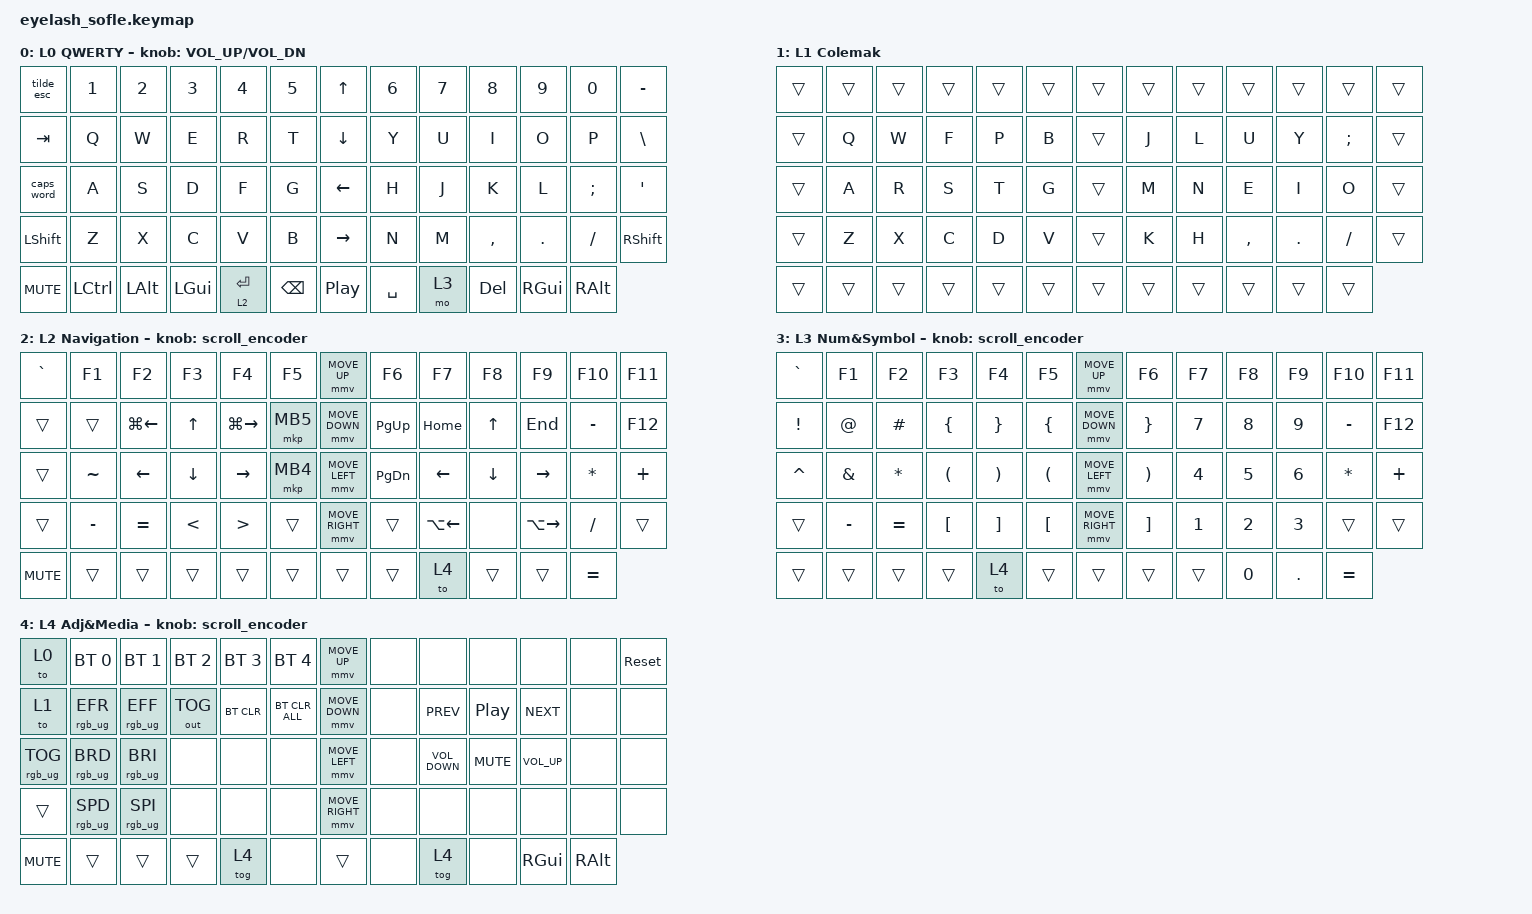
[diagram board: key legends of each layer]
#define ZMK_POINTING_DEFAULT_MOVE_VAL 1200  // 600
#define ZMK_POINTING_DEFAULT_SCRL_VAL 35    // 10

#include <input/processors.dtsi>
#include <zephyr/dt-bindings/input/input-event-codes.h>
#include <behaviors.dtsi>
#include <dt-bindings/zmk/bt.h>
#include <dt-bindings/zmk/keys.h>
#include <dt-bindings/zmk/outputs.h>
#include <dt-bindings/zmk/pointing.h>
#include <dt-bindings/zmk/rgb.h>

/ {
    zip_scroll_scaler: zip_scroll_scaler {
        compatible = "zmk,input-processor-scaler";
        #input-processor-cells = <2>;
        type = <INPUT_EV_REL>;
        codes = <INPUT_REL_WHEEL INPUT_REL_HWHEEL>;
        track-remainders;
    };
};

&mmv_input_listener { input-processors = <&zip_xy_scaler 2 1>; };

&msc_input_listener { input-processors = <&zip_scroll_scaler 2 1>; };

&msc {
    acceleration-exponent = <0>;      // 0
    time-to-max-speed-ms = <0>;       // 300
    delay-ms = <0>;                   // 0
};

&mmv {
    time-to-max-speed-ms = <400>;
    acceleration-exponent = <1>;
};

/ {
    scroll_encoder: scroll_encoder {
        compatible = "zmk,behavior-sensor-rotate";
        #sensor-binding-cells = <0>;
        bindings = <&msc SCRL_DOWN>, <&msc SCRL_UP>;

        tap-ms = <30>;
    };

    grave_esc: grave_esc {
        compatible = "zmk,behavior-mod-morph";
        label = "GRAVE_ESC";
        bindings = <&kp GRAVE>, <&kp TILDE>;

        #binding-cells = <0>;
        mods = <(MOD_LSFT|MOD_RSFT)>;
    };

    tilde_esc: tilde_esc {
        compatible = "zmk,behavior-mod-morph";
        label = "TILDE_ESC";
        bindings = <&kp ESC>, <&grave_esc>;

        #binding-cells = <0>;
        mods = <(MOD_LCTL|MOD_LALT|MOD_LGUI|MOD_RCTL|MOD_RALT|MOD_RGUI|MOD_LSFT|MOD_RSFT)>;
    };

    toggle_on: toggle_on {
        compatible = "zmk,behavior-toggle-layer";
        label = "TOGGLE_ON";
        #binding-cells = <1>;
    };

    toggle_off: toggle_off {
        compatible = "zmk,behavior-toggle-layer";
        label = "TOGGLE_OFF";
        #binding-cells = <1>;
        toggle-mode = "off";
    };

    behaviors {
    };

    combos {
        compatible = "zmk,combos";

        CAPLOCK {
            bindings = <&kp CAPSLOCK>;
            key-positions = <51 39>;
            timeout-ms = <100>;
        };
    };

    keymap {
        compatible = "zmk,keymap";

        layer0 {
            bindings = <
&tilde_esc  &kp N1     &kp N2        &kp N3        &kp N4       &kp N5           &kp UP_ARROW      &kp N6     &kp N7  &kp N8     &kp N9         &kp N0         &kp MINUS
&kp TAB     &kp Q      &kp W         &kp E         &kp R        &kp T            &kp DOWN_ARROW    &kp Y      &kp U   &kp I      &kp O          &kp P          &kp BSLH
&caps_word  &kp A      &kp S         &kp D         &kp F        &kp G            &kp LEFT_ARROW    &kp H      &kp J   &kp K      &kp L          &kp SEMI       &kp APOS
&kp LSHFT   &kp Z      &kp X         &kp C         &kp V        &kp B            &kp RIGHT_ARROW   &kp N      &kp M   &kp COMMA  &kp DOT        &kp FSLH       &kp RIGHT_SHIFT
&kp C_MUTE  &kp LCTRL  &kp LEFT_ALT  &kp LEFT_GUI  &lt 2 ENTER  &kp BACKSPACE    &kp C_PLAY_PAUSE  &kp SPACE  &mo 3   &kp DEL    &kp RIGHT_GUI  &kp RIGHT_ALT
            >;

            sensor-bindings = <&inc_dec_kp C_VOLUME_UP C_VOL_DN>;
            display-name = "L0 QWERTY";
            label = "L0_QWERTY";
        };

        Layer1_ColemakDH {
            bindings = <
&trans  &trans  &trans  &trans  &trans  &trans    &trans  &trans  &trans  &trans     &trans   &trans    &trans
&trans  &kp Q   &kp W   &kp F   &kp P   &kp B     &trans  &kp J   &kp L   &kp U      &kp Y    &kp SEMI  &trans
&trans  &kp A   &kp R   &kp S   &kp T   &kp G     &trans  &kp M   &kp N   &kp E      &kp I    &kp O     &trans
&trans  &kp Z   &kp X   &kp C   &kp D   &kp V     &trans  &kp K   &kp H   &kp COMMA  &kp DOT  &kp FSLH  &trans
&trans  &trans  &trans  &trans  &trans  &trans    &trans  &trans  &trans  &trans     &trans   &trans
            >;

            display-name = "L1 Colemak";
            label = "L1_Colemak";
        };

        layer2_nav {
            bindings = <
&kp GRAVE   &kp F1     &kp F2              &kp F3         &kp F4            &kp F5      &mmv MOVE_UP     &kp F6     &kp F7        &kp F8    &kp F9         &kp F10    &kp F11
&trans      &trans     &kp LG(LEFT_ARROW)  &kp UP         &kp LG(RIGHT)     &mkp MB5    &mmv MOVE_DOWN   &kp PG_UP  &kp HOME      &kp UP    &kp END        &kp MINUS  &kp F12
&trans      &kp TILDE  &kp LEFT            &kp DOWN       &kp RIGHT         &mkp MB4    &mmv MOVE_LEFT   &kp PG_DN  &kp LEFT      &kp DOWN  &kp RIGHT      &kp STAR   &kp PLUS
&trans      &kp MINUS  &kp EQUAL           &kp LESS_THAN  &kp GREATER_THAN  &trans      &mmv MOVE_RIGHT  &trans     &kp LA(LEFT)  &none     &kp LA(RIGHT)  &kp SLASH  &trans
&kp C_MUTE  &trans     &trans              &trans         &trans            &trans      &trans           &trans     &to 4         &trans    &trans         &kp EQUAL
            >;

            display-name = "L2 Navigation";
            sensor-bindings = <&scroll_encoder>;
            label = "L2_NAV";
        };

        Layer3_NUM_Sym {
            bindings = <
&kp GRAVE        &kp F1         &kp F2        &kp F3                &kp F4                 &kp F5                  &mmv MOVE_UP     &kp F6                 &kp F7  &kp F8  &kp F9   &kp F10       &kp F11
&kp EXCLAMATION  &kp AT_SIGN    &kp POUND     &kp LEFT_BRACE        &kp RIGHT_BRACE        &kp LEFT_BRACE          &mmv MOVE_DOWN   &kp RIGHT_BRACE        &kp N7  &kp N8  &kp N9   &kp MINUS     &kp F12
&kp CARET        &kp AMPERSAND  &kp ASTERISK  &kp LEFT_PARENTHESIS  &kp RIGHT_PARENTHESIS  &kp LEFT_PARENTHESIS    &mmv MOVE_LEFT   &kp RIGHT_PARENTHESIS  &kp N4  &kp N5  &kp N6   &kp ASTERISK  &kp PLUS
&trans           &kp MINUS      &kp EQUAL     &kp LBKT              &kp RBKT               &kp LBKT                &mmv MOVE_RIGHT  &kp RBKT               &kp N1  &kp N2  &kp N3   &trans        &trans
&trans           &trans         &trans        &trans                &to 4                  &trans                  &trans           &trans                 &trans  &kp N0  &kp DOT  &kp EQUAL
            >;

            display-name = "L3 Num&Symbol";
            sensor-bindings = <&scroll_encoder>;
            label = "L3_Num&Symbol";
        };

        L4_ADJ {
            bindings = <
&to 0            &bt BT_SEL 0     &bt BT_SEL 1     &bt BT_SEL 2  &bt BT_SEL 3  &bt BT_SEL 4      &mmv MOVE_UP     &none  &none              &none             &none            &none          &sys_reset
&to 1            &rgb_ug RGB_EFR  &rgb_ug RGB_EFF  &out OUT_TOG  &bt BT_CLR    &bt BT_CLR_ALL    &mmv MOVE_DOWN   &none  &kp C_PREV         &kp C_PLAY_PAUSE  &kp C_NEXT       &none          &none
&rgb_ug RGB_TOG  &rgb_ug RGB_BRD  &rgb_ug RGB_BRI  &none         &none         &none             &mmv MOVE_LEFT   &none  &kp K_VOLUME_DOWN  &kp C_MUTE        &kp C_VOLUME_UP  &none          &none
&trans           &rgb_ug RGB_SPD  &rgb_ug RGB_SPI  &none         &none         &none             &mmv MOVE_RIGHT  &none  &none              &none             &none            &none          &none
&kp C_MUTE       &trans           &trans           &trans        &tog 4        &none             &trans           &none  &tog 4             &none             &kp RIGHT_GUI    &kp RIGHT_ALT
            >;

            display-name = "L4 Adj&Media";
            sensor-bindings = <&scroll_encoder>;
            label = "L4_ADJ_MEDIA";
        };
    };
};
